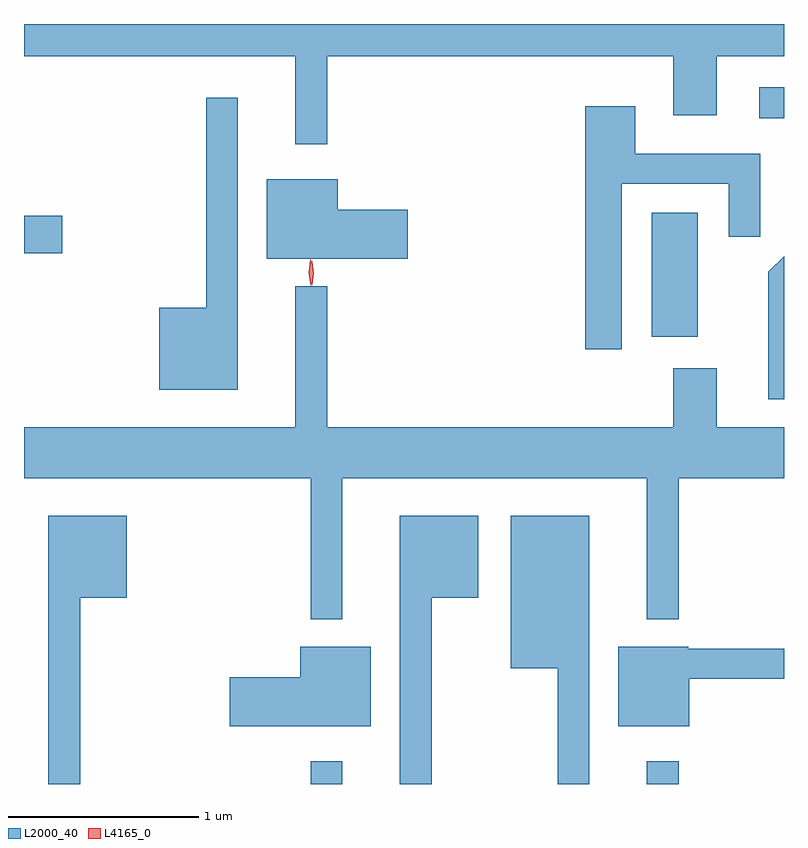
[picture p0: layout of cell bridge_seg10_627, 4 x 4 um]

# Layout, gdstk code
import gdstk
lib = gdstk.Library(unit=1e-6, precision=1e-09)
def R(c, l, rs):  # rectangles x0, y0, x1, y1
    for r in rs: c.add(gdstk.rectangle(r[:2], r[2:], *l))
def P(c, l, *ps):  # polygons
    for p in ps: c.add(gdstk.Polygon(p, *l))
L2000_40 = (2000, 40)
L4165_0 = (4165, 0)

bridge_seg10_627 = lib.new_cell('bridge_seg10_627')
R(bridge_seg10_627, L2000_40, [(758.141,2085.667,758.309,2085.788), (759.911,2085.667,760.079,2085.788), (759.936,2088.021,760.179,2088.674), (756.633,2088.461,756.834,2088.659), (760.503,2089.171,760.633,2089.334)])
P(bridge_seg10_627, L2000_40, [(758.229,2089.496),(760.051,2089.496),(760.051,2089.186),(760.279,2089.186),(760.279,2089.496),(760.633,2089.496),(760.633,2089.667),(756.633,2089.667),(756.633,2089.496),(758.061,2089.496),(758.061,2089.033),(758.229,2089.033)],
  [(757.759,2089.278),(757.591,2089.278),(757.591,2088.174),(757.346,2088.174),(757.346,2087.741),(757.759,2087.741)],
  [(759.779,2088.826),(760.341,2088.826),(760.341,2088.548),(760.509,2088.548),(760.509,2088.984),(759.849,2088.984),(759.849,2089.234),(759.586,2089.234),(759.586,2087.956),(759.779,2087.956)],
  [(758.654,2088.689),(758.284,2088.689),(758.284,2088.849),(757.911,2088.849),(757.911,2088.431),(758.654,2088.431)],
  [(760.633,2088.444),(760.551,2088.362),(760.551,2087.693),(760.633,2087.693)],
  [(758.309,2087.276),(759.911,2087.276),(759.911,2086.533),(760.079,2086.533),(760.079,2087.276),(760.633,2087.276),(760.633,2087.544),(760.279,2087.544),(760.279,2087.854),(760.051,2087.854),(760.051,2087.544),(758.229,2087.544),(758.229,2088.288),(758.061,2088.288),(758.061,2087.544),(756.633,2087.544),(756.633,2087.276),(758.141,2087.276),(758.141,2086.533),(758.309,2086.533)],
  [(759.609,2087.079),(759.196,2087.079),(759.196,2086.276),(759.441,2086.276),(759.441,2085.667),(759.609,2085.667)],
  [(758.779,2086.646),(759.024,2086.646),(759.024,2087.079),(758.611,2087.079),(758.611,2085.667),(758.779,2085.667)],
  [(756.929,2086.646),(757.174,2086.646),(757.174,2087.079),(756.761,2087.079),(756.761,2085.667),(756.929,2085.667)],
  [(758.459,2086.389),(758.086,2086.389),(758.086,2086.229),(757.716,2086.229),(757.716,2085.971),(758.459,2085.971)],
  [(760.134,2086.221),(760.633,2086.221),(760.633,2086.379),(760.13,2086.379),(760.13,2086.389),(759.761,2086.389),(759.761,2085.971),(760.134,2085.971)])
P(bridge_seg10_627, L4165_0, [(758.141,2088.29),(758.131,2088.358),(758.14,2088.425),(758.141,2088.426),(758.142,2088.425),(758.151,2088.358),(758.142,2088.29),(758.142,2088.29)],
  [(758.148,2088.293),(758.148,2088.294),(758.138,2088.356),(758.148,2088.419),(758.148,2088.42),(758.149,2088.419),(758.158,2088.356),(758.149,2088.294)])

lib.write_gds('bridge_seg10_627.gds')
